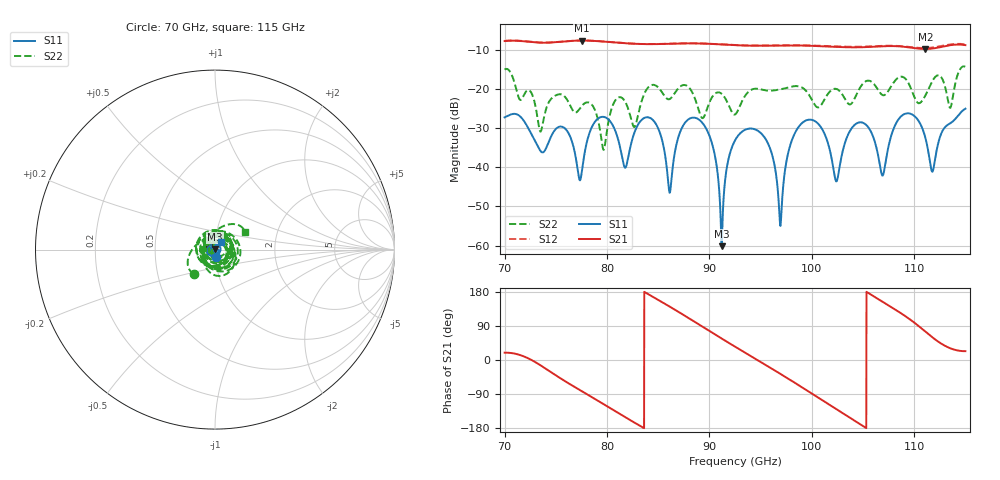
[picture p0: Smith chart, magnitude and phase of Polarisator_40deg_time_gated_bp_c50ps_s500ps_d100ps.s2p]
# Hz S RI R 1.000000
! Metas.Vna.Tools, 2.4.7898.19887
! Metas.Vna.Data, 2.4.7898.19873
! Created: UTC 2021.09.30 14:31:00
! FREQ  re:S1,1  im:S1,1  re:S2,1  im:S2,1  re:S1,2  im:S1,2  re:S2,2  im:S2,2
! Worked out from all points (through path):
!   2251 points, 70 GHz to 115 GHz, reference 1 ohm
!   highest |S21| = -7.56 dB at 77.54 GHz (marker M1); lowest = -9.7 dB at 111.1 GHz (marker M2)
!   lowest |S11| = -60.2 dB at 91.2 GHz (marker M3), VSWR 1.00, Z = 1 + j0.00194 ohm
!   |S11| at or under -10 dB: start of sweep to end of sweep
!   |S22| runs from -35.5 to -14.1 dB; largest |S21 - S12| = 0.071
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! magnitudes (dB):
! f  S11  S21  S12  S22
! 70 GHz  -27.2  -7.7  -7.6  -15.0
! 73.5 GHz  -35.8  -8.1  -8.1  -30.9
! 75.72 GHz  -29.7  -7.8  -7.8  -21.6
! 77.5 GHz  -41.9  -7.6  -7.5  -24.4
! 77.54 GHz  -41.2  -7.6  -7.5  -24.3
! 79.68 GHz  -27.1  -7.8  -7.8  -35.5
! 81.76 GHz  -40.1  -8.2  -8.2  -23.1
! 85 GHz  -30.0  -8.5  -8.4  -19.6
! 86.12 GHz  -46.5  -8.4  -8.4  -22.5
! 87.42 GHz  -29.4  -8.3  -8.3  -19.0
! 89.42 GHz  -29.0  -8.3  -8.3  -27.3
! 91.2 GHz  -60.2  -8.6  -8.5  -21.2
! 92.5 GHz  -33.1  -8.7  -8.7  -26.5
! 95.44 GHz  -32.5  -8.9  -8.8  -20.3
! 96.94 GHz  -55.0  -8.8  -8.8  -20.0
! 98.02 GHz  -33.3  -8.8  -8.7  -19.4
! 100 GHz  -27.8  -8.9  -8.8  -22.7
! 102.4 GHz  -43.6  -9.2  -9.1  -19.9
! 104.4 GHz  -28.8  -9.3  -9.1  -21.4
! 107.5 GHz  -34.5  -9.0  -8.9  -20.3
! 111.1 GHz  -32.5  -9.7  -9.5  -21.6
! 115 GHz  -25.0  -8.7  -8.5  -14.3
